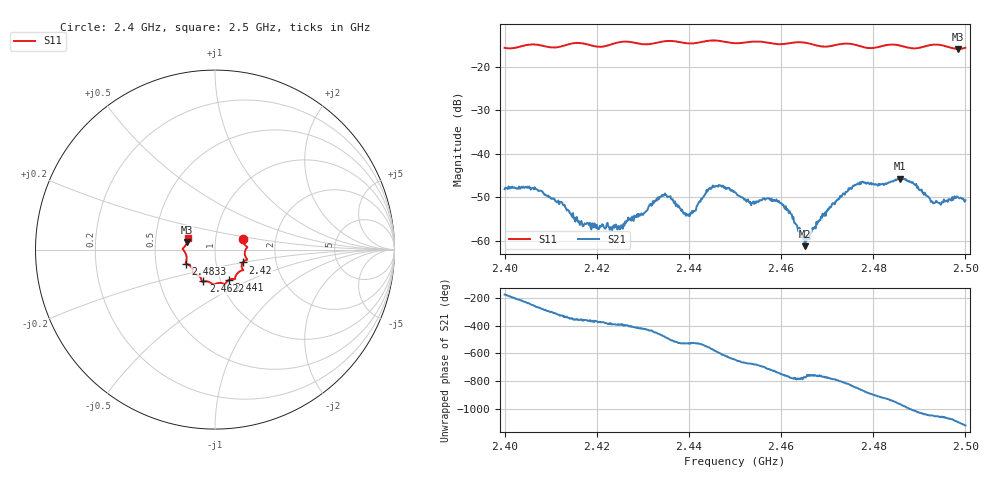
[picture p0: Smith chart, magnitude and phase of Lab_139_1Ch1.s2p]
# Hz S RI R
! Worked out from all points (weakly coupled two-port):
!   601 points, 2.4 GHz to 2.5 GHz, reference 50 ohm
!   highest |S21| = -45.72 dB at 2.4858 GHz (marker M1); lowest = -61.3 dB at 2.4652 GHz (marker M2)
!   lowest |S11| = -15.9 dB at 2.4983 GHz (marker M3), VSWR 1.38, Z = 36.4 + j3.08 ohm
!   |S11| at or under -10 dB: start of sweep to end of sweep
!   S12 and S22 are empty: the file has one direction only
!   S11 on the Smith chart (normalised r, x): 2.4 GHz: 1.35, +0.16; 2.42 GHz: 1.35, -0.20; 2.441 GHz: 1.09, -0.39; 2.4622 GHz: 0.83, -0.30; 2.4833 GHz: 0.71, -0.12; 2.5 GHz: 0.73, +0.10
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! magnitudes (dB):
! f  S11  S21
! 2.4 GHz  -15.6  -48.2
! 2.4077 GHz  -15.0  -48.5
! 2.4167 GHz  -14.6  -55.5
! 2.42 GHz  -15.3  -56.4
! 2.4255 GHz  -14.2  -56.7
! 2.4333 GHz  -14.4  -50.0
! 2.4353 GHz  -14.0  -50.1
! 2.4393 GHz  -14.5  -54.3
! 2.441 GHz  -14.6  -53.2
! 2.4448 GHz  -13.9  -48.1
! 2.45 GHz  -14.6  -48.9
! 2.4537 GHz  -14.2  -51.4
! 2.459 GHz  -14.8  -50.5
! 2.4622 GHz  -14.5  -53.9
! 2.4652 GHz  -14.4  -61.3
! 2.4667 GHz  -14.8  -57.7
! 2.476 GHz  -14.9  -47.2
! 2.4833 GHz  -14.9  -46.6
! 2.4858 GHz  -15.1  -45.7
! 2.493 GHz  -14.9  -51.5
! 2.4983 GHz  -15.9  -50.0
! 2.5 GHz  -15.6  -50.7
